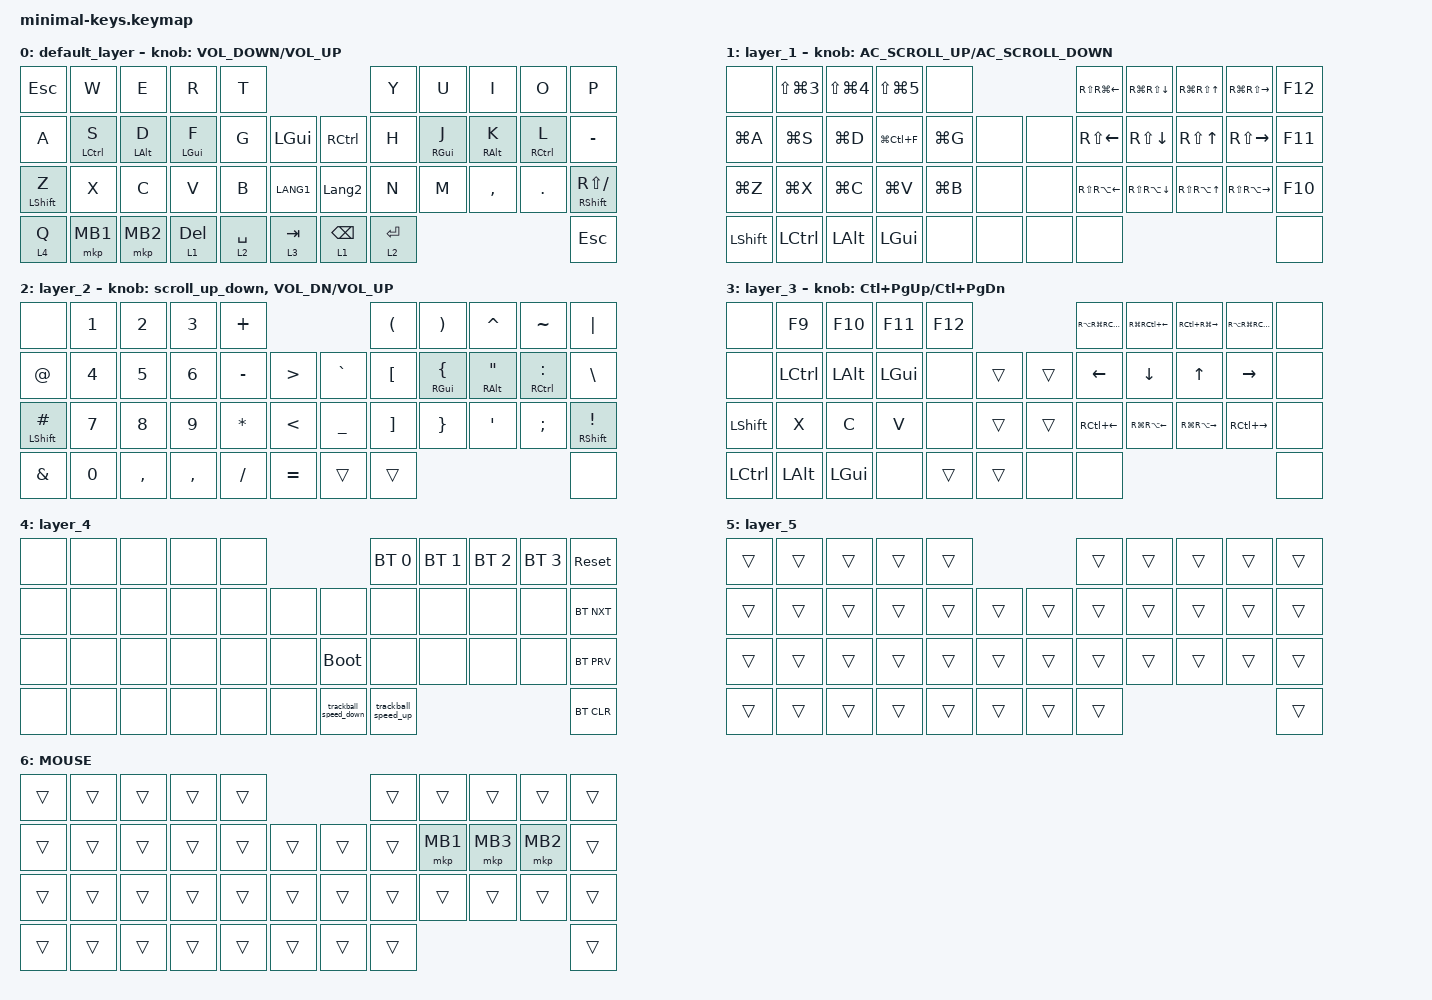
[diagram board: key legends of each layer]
#include <behaviors.dtsi>
#include <behaviors/runtime-input-processor.dtsi>
#include <behaviors/trackball-speed.dtsi>
#include <dt-bindings/zmk/bt.h>
#include <dt-bindings/zmk/keys.h>
#include <dt-bindings/zmk/pointing.h>

#undef ZMK_POINTING_DEFAULT_SCRL_VAL

#define ZMK_POINTING_DEFAULT_SCRL_VAL 100
#define MOUSE 6

&mt {
    flavor = "balanced";
    quick-tap-ms = <0>;
};

/ {
    combos { compatible = "zmk,combos"; };

    macros {
        to_layer_0: to_layer_0 {
            compatible = "zmk,behavior-macro-one-param";
            #binding-cells = <1>;
            bindings = <&to 0 &macro_param_1to1 &kp MACRO_PLACEHOLDER>;
            label = "TO_LAYER_0";
        };
    };

    behaviors {
        lt_to_layer_0: lt_to_layer_0 {
            compatible = "zmk,behavior-hold-tap";
            label = "LAYER_TAP_TO_0";
            bindings = <&mo>, <&to_layer_0>;

            #binding-cells = <2>;
            tapping-term-ms = <200>;
        };

        scroll_up_down: behavior_sensor_rotate_mouse_wheel_up_down {
            compatible = "zmk,behavior-sensor-rotate";
            #sensor-binding-cells = <0>;
            bindings = <&msc SCRL_UP>, <&msc SCRL_DOWN>;

            tap-ms = <20>;
        };

        scroll: scroll {
            compatible = "zmk,behavior-sensor-rotate";
            label = "SCROLL";
            #sensor-binding-cells = <0>;
            bindings = <&msc SCRL_DOWN>, <&msc SCRL_UP>;
        };
    };

    keymap {
        compatible = "zmk,keymap";

        default_layer {
            bindings = <
&kp ESCAPE        &kp W               &kp E           &kp R           &kp T                                           &kp Y        &kp U            &kp I            &kp O                &kp P
&kp A             &mt LEFT_CONTROL S  &mt LEFT_ALT D  &mt LEFT_GUI F  &kp G        &kp LEFT_GUI    &kp RIGHT_CONTROL  &kp H        &mt RIGHT_GUI J  &mt RIGHT_ALT K  &mt RIGHT_CONTROL L  &kp MINUS
&mt LEFT_SHIFT Z  &kp X               &kp C           &kp V           &kp B        &kp LANG1       &kp LANGUAGE_2     &kp N        &kp M            &kp COMMA        &kp DOT              &mt RIGHT_SHIFT RS(SLASH)
&lt 4 Q           &mkp MB1            &mkp MB2        &lt 1 DELETE    &lt 2 SPACE  &lt 3 TAB       &lt 1 BACKSPACE    &lt 2 ENTER                                                         &kp ESCAPE
            >;

            sensor-bindings = <&inc_dec_kp C_VOLUME_DOWN C_VOLUME_UP>;
        };

        layer_1 {
            bindings = <
&none           &kp LS(LG(N3))    &kp LS(LG(N4))  &kp LS(LG(N5))  &none                      &kp RS(RG(LEFT))  &kp RG(RS(DOWN))  &kp RG(RS(UP))  &kp RG(RS(RIGHT))  &kp F12
&kp LG(A)       &kp LG(S)         &kp LG(D)       &kp LG(LC(F))   &kp LG(G)  &none    &none  &kp RS(LEFT)      &kp RS(DOWN)      &kp RS(UP)      &kp RS(RIGHT)      &kp F11
&kp LG(Z)       &kp LG(X)         &kp LG(C)       &kp LG(V)       &kp LG(B)  &none    &none  &kp RS(RA(LEFT))  &kp RS(RA(DOWN))  &kp RS(RA(UP))  &kp RS(RA(RIGHT))  &kp F10
&kp LEFT_SHIFT  &kp LEFT_CONTROL  &kp LEFT_ALT    &kp LEFT_GUI    &none      &none    &none  &none                                                                  &none
            >;

            sensor-bindings = <&inc_dec_kp C_AC_SCROLL_UP C_AC_SCROLL_DOWN>;
        };

        layer_2 {
            bindings = <
&none                &kp NUMBER_1  &kp NUMBER_2  &kp NUMBER_3  &kp PLUS                                          &kp LEFT_PARENTHESIS  &kp RIGHT_PARENTHESIS     &kp CARET                    &kp TILDE                &kp PIPE
&kp AT_SIGN          &kp NUMBER_4  &kp N5        &kp NUMBER_6  &kp MINUS     &kp GREATER_THAN    &kp GRAVE       &kp LEFT_BRACKET      &mt RIGHT_GUI LEFT_BRACE  &mt RIGHT_ALT DOUBLE_QUOTES  &mt RIGHT_CONTROL COLON  &kp BACKSLASH
&mt LEFT_SHIFT HASH  &kp N7        &kp N8        &kp N9        &kp ASTERISK  &kp LESS_THAN       &kp UNDERSCORE  &kp RIGHT_BRACKET     &kp RIGHT_BRACE           &kp SQT                      &kp SEMICOLON            &mt RIGHT_SHIFT EXCLAMATION
&kp AMPERSAND        &kp N0        &kp COMMA     &kp COMMA     &kp SLASH     &kp EQUAL           &trans          &trans                                                                                                &none
            >;

            sensor-bindings =
                <&scroll_up_down>,
                <&inc_dec_kp C_VOL_DN C_VOL_UP>;
        };

        layer_3 {
            bindings = <
&none      &kp F9            &kp F10       &kp F11       &kp F12                    &kp RA(RG(RC(LEFT)))  &kp RG(RC(LEFT))  &kp RC(RG(RIGHT))  &kp RA(RG(RC(RIGHT)))  &none
&none      &kp LEFT_CONTROL  &kp LEFT_ALT  &kp LEFT_GUI  &none    &trans    &trans  &kp LEFT              &kp DOWN          &kp UP             &kp RIGHT              &none
&kp LSHFT  &kp X             &kp C         &kp V         &none    &trans    &trans  &kp RC(LEFT)          &kp RG(RA(LEFT))  &kp RG(RA(RIGHT))  &kp RC(RIGHT)          &none
&kp LCTRL  &kp LALT          &kp LGUI      &none         &trans   &trans    &none   &none                                                                             &none
            >;

            sensor-bindings = <&inc_dec_kp LC(PAGE_UP) LC(PAGE_DOWN)>;
        };

        layer_4 {
            bindings = <
&none  &none  &none  &none  &none                        &bt BT_SEL 0  &bt BT_SEL 1  &bt BT_SEL 2  &bt BT_SEL 3  &sys_reset
&none  &none  &none  &none  &none  &none    &none        &none         &none         &none         &none         &bt BT_NXT
&none  &none  &none  &none  &none  &none    &bootloader  &none         &none         &none         &none         &bt BT_PRV
&none  &none     &none     &none  &none  &none    &trackball_speed_down  &trackball_speed_up                                   &bt BT_CLR
            >;
        };

        layer_5 {
            bindings = <
&trans  &trans  &trans  &trans  &trans                    &trans  &trans  &trans  &trans  &trans
&trans  &trans  &trans  &trans  &trans  &trans    &trans  &trans  &trans  &trans  &trans  &trans
&trans  &trans  &trans  &trans  &trans  &trans    &trans  &trans  &trans  &trans  &trans  &trans
&trans  &trans  &trans  &trans  &trans  &trans    &trans  &trans                          &trans
            >;
        };

        MOUSE {
            bindings = <
&trans  &trans  &trans  &trans  &trans                    &trans  &trans    &trans    &trans    &trans
&trans  &trans  &trans  &trans  &trans  &trans    &trans  &trans  &mkp MB1  &mkp MB3  &mkp MB2  &trans
&trans  &trans  &trans  &trans  &trans  &trans    &trans  &trans  &trans    &trans    &trans    &trans
&trans  &trans  &trans  &trans  &trans  &trans    &trans  &trans                                &trans
            >;
        };
    };
};
